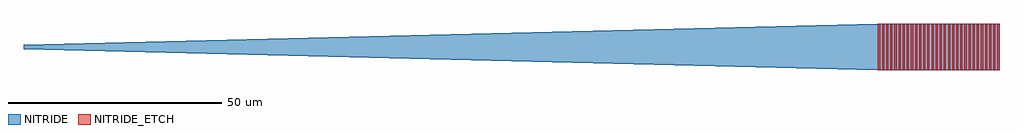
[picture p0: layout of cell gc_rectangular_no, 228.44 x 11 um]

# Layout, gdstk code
import gdstk
lib = gdstk.Library(unit=1e-6, precision=1e-09)
def R(c, l, rs):  # rectangles x0, y0, x1, y1
    for r in rs: c.add(gdstk.rectangle(r[:2], r[2:], *l))
def A(c, l, x, y, w, h, nx, ny, dx, dy):  # array of equal rectangles
    R(c, l, [(x+i*dx, y+j*dy, x+i*dx+w, y+j*dy+h) for i in range(nx) for j in range(ny)])
def P(c, l, *ps):  # polygons
    for p in ps: c.add(gdstk.Polygon(p, *l))
NITRIDE = (203, 0)
NITRIDE_ETCH = (204, 0)

gc_rectangular_no = lib.new_cell('gc_rectangular_no')
R(gc_rectangular_no, NITRIDE, [(200,-5.5,228.438,5.5)])
P(gc_rectangular_no, NITRIDE, [(0,0.475),(200,5.5),(200,-5.5),(0,-0.475)])
A(gc_rectangular_no, NITRIDE_ETCH, 200, -5.5, 0.482, 11, 30, 1, 0.964, 0)

lib.write_gds('gc_rectangular_no.gds')
